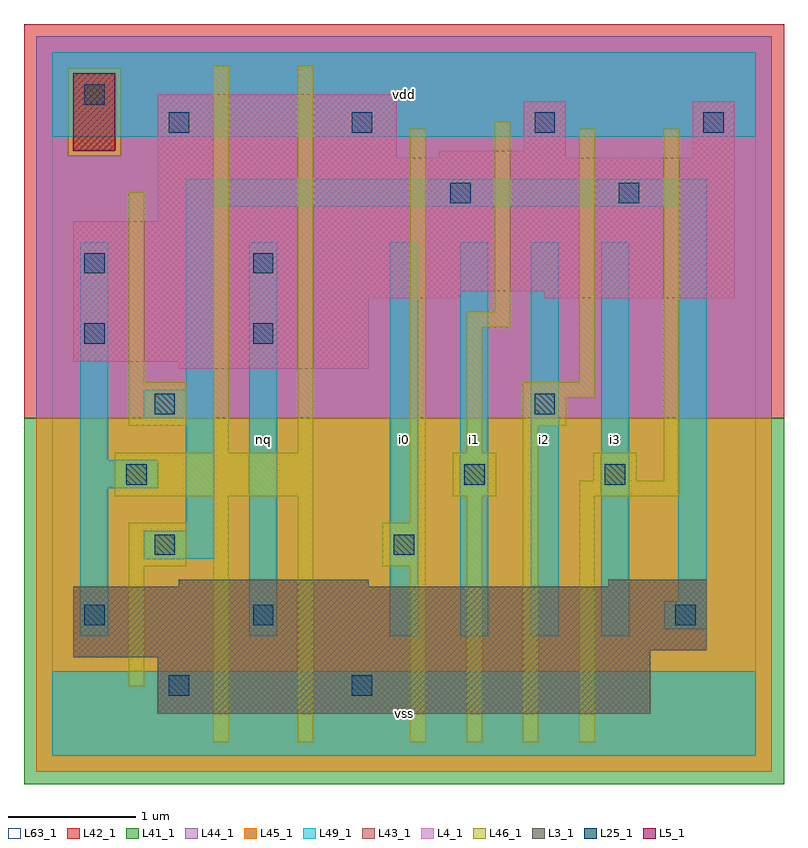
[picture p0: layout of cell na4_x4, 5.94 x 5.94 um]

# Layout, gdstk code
import gdstk
lib = gdstk.Library(unit=1e-6, precision=1e-09)
def R(c, l, rs):  # rectangles x0, y0, x1, y1
    for r in rs: c.add(gdstk.rectangle(r[:2], r[2:], *l))
def A(c, l, x, y, w, h, nx, ny, dx, dy):  # array of equal rectangles
    R(c, l, [(x+i*dx, y+j*dy, x+i*dx+w, y+j*dy+h) for i in range(nx) for j in range(ny)])
L3_1 = (3, 1)
L4_1 = (4, 1)
L5_1 = (5, 1)
L25_1 = (25, 1)
L41_1 = (41, 1)
L42_1 = (42, 1)
L43_1 = (43, 1)
L44_1 = (44, 1)
L45_1 = (45, 1)
L46_1 = (46, 1)
L49_1 = (49, 1)
L63_1 = (63, 1)

na4_x4 = lib.new_cell('na4_x4')
R(na4_x4, L3_1, [(0.825,0.33,4.675,0.77), (0.165,0.77,4.675,0.825), (0.165,0.825,5.115,1.32), (0.99,1.32,2.475,1.375), (4.345,1.32,5.115,1.375)])
R(na4_x4, L4_1, [(0.99,3.025,2.475,3.08), (0.165,3.08,2.475,3.575), (0.165,3.575,3.19,3.63), (3.85,3.575,5.335,3.63), (0.165,3.63,5.335,4.18), (0.825,4.18,5.335,4.675), (0.825,4.675,2.695,5.17), (3.025,4.675,4.015,4.73), (5.005,4.675,5.335,5.115), (3.685,4.73,4.015,5.115)])
R(na4_x4, L5_1, [(0.165,4.73,0.495,5.335)])
A(na4_x4, L25_1, 0.91, 4.87, 0.16, 0.16, 3, 1, 1.43, 0)
R(na4_x4, L25_1, [(0.91,0.47,1.07,0.63), (2.34,0.47,2.5,0.63), (0.25,1.02,0.41,1.18), (1.57,1.02,1.73,1.18), (4.87,1.02,5.03,1.18), (0.8,1.57,0.96,1.73), (2.67,1.57,2.83,1.73), (0.58,2.12,0.74,2.28), (3.22,2.12,3.38,2.28), (4.32,2.12,4.48,2.28), (0.8,2.67,0.96,2.83), (3.77,2.67,3.93,2.83), (0.25,3.22,0.41,3.38), (1.57,3.22,1.73,3.38), (0.25,3.77,0.41,3.93), (1.57,3.77,1.73,3.93), (3.11,4.32,3.27,4.48), (4.43,4.32,4.59,4.48), (5.09,4.87,5.25,5.03), (0.25,5.09,0.41,5.25)])
R(na4_x4, L41_1, [(-0.22,-0.22,5.72,2.64)])
R(na4_x4, L42_1, [(-0.22,2.64,5.72,5.72)])
R(na4_x4, L43_1, [(0.825,0.33,4.675,0.77), (0.165,0.77,4.675,0.825), (0.165,0.825,5.115,1.32), (0.99,1.32,2.475,1.375), (4.345,1.32,5.115,1.375), (0.99,3.025,2.475,3.08), (0.165,3.08,2.475,3.575), (0.165,3.575,3.19,3.63), (3.85,3.575,5.335,3.63), (0.165,3.63,5.335,4.18), (0.825,4.18,5.335,4.675), (0.825,4.675,2.695,5.17), (3.025,4.675,4.015,4.73), (5.005,4.675,5.335,5.115), (0.165,4.73,0.495,5.335), (3.685,4.73,4.015,5.115)])
R(na4_x4, L44_1, [(-0.125,2.64,5.625,4.69), (-0.125,4.69,0.125,5.375), (0.535,4.69,5.625,5.375), (-0.125,5.375,5.625,5.625)])
R(na4_x4, L45_1, [(-0.125,-0.125,5.625,2.64), (0.125,4.69,0.535,5.375)])
R(na4_x4, L46_1, [(1.26,0.105,1.38,2.03), (1.92,0.105,2.04,2.03), (2.8,0.105,2.92,1.48), (3.24,0.105,3.36,2.03), (3.68,0.105,3.8,2.58), (4.12,0.105,4.24,2.03), (0.6,0.545,0.72,1.48), (0.6,1.48,1.05,1.82), (2.58,1.48,2.92,1.82), (2.8,1.82,2.92,4.9), (0.49,2.03,2.04,2.37), (3.13,2.03,3.47,2.37), (4.12,2.03,4.9,2.15), (4.23,2.15,4.57,2.37), (4.78,2.15,4.9,4.9), (1.26,2.37,1.38,5.395), (1.92,2.37,2.04,5.395), (3.24,2.37,3.36,3.35), (0.6,2.58,1.05,2.92), (3.68,2.58,4.02,2.8), (3.68,2.8,4.24,2.92), (0.6,2.92,0.72,4.405), (4.12,2.92,4.24,4.9), (3.24,3.35,3.58,3.47), (3.46,3.47,3.58,4.955)])
A(na4_x4, L49_1, 2.64, 0.935, 0.22, 3.08, 4, 1, 0.55, 0)
R(na4_x4, L49_1, [(0,0,5.5,0.66), (0.22,0.935,0.44,2.09), (1.54,0.935,1.76,4.015), (4.785,0.99,5.115,1.21), (4.895,1.21,5.115,4.29), (0.715,1.54,1.265,1.76), (1.045,1.76,1.265,2.64), (0.22,2.09,0.825,2.31), (0.22,2.31,0.44,4.015), (0.715,2.64,1.265,2.86), (1.045,2.86,1.265,4.29), (1.045,4.29,5.115,4.51), (0,4.84,5.5,5.5)])
R(na4_x4, L63_1, [(0,0,5.5,5.5)])
na4_x4.add(gdstk.Label('nq', (1.65,2.475), layer=49, texttype=1))
na4_x4.add(gdstk.Label('vss', (2.75,0.33), layer=49, texttype=1))
na4_x4.add(gdstk.Label('i0', (2.75,2.475), layer=49, texttype=1))
na4_x4.add(gdstk.Label('i2', (3.85,2.475), layer=49, texttype=1))
na4_x4.add(gdstk.Label('i1', (3.3,2.475), layer=49, texttype=1))
na4_x4.add(gdstk.Label('vdd', (2.75,5.17), layer=49, texttype=1))
na4_x4.add(gdstk.Label('i3', (4.4,2.475), layer=49, texttype=1))

lib.write_gds('na4_x4.gds')
